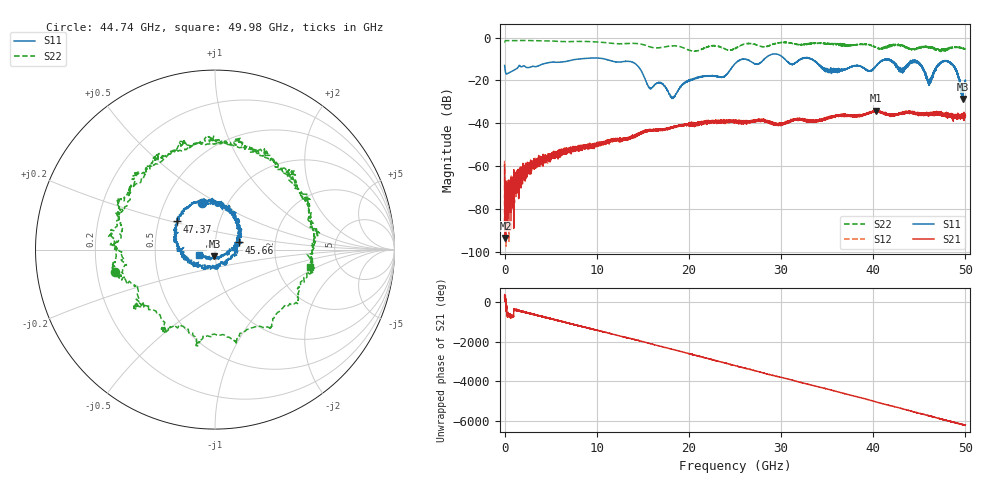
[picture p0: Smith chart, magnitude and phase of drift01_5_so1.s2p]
!Created with skrf (http://scikit-rf.org).
# Hz S RI R 50.0
!freq ReS11 ImS11 ReS21 ImS21 ReS12 ImS12 ReS22 ImS22
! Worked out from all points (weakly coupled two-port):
!   10001 points, 300 kHz to 50 GHz, reference 50 ohm
!   highest |S21| = -34.11 dB at 40.27 GHz (marker M1); lowest = -93.5 dB at 85.3 MHz (marker M2)
!   lowest |S11| = -28.6 dB at 49.72 GHz (marker M3), VSWR 1.08, Z = 49.6 - j3.67 ohm
!   |S11| at or under -10 dB: 10.84 GHz to 25.98 GHz (15.14 GHz wide, 82.3 % of centre); 33.25 GHz to 41.39 GHz (8.144 GHz wide, 21.8 % of centre); 41.41 GHz to end of sweep (the widest 3 of 8)
!   |S22| runs from -6.7 to -1.4 dB; largest |S21 - S12| = 0.004
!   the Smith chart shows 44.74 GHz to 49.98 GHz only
!   S11 on the Smith chart (normalised r, x): 44.74 GHz: 0.76, +0.42; 45.66 GHz: 1.30, +0.11; 47.37 GHz: 0.62, +0.21; 49.98 GHz: 0.83, -0.05
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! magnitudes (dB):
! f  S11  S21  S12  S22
! 300 kHz  -13.0  -59.6  -57.5  -2.1
! 85.3 MHz  -15.9  -93.5  -81.2  -1.5
! 270.3 MHz  -16.9  -71.4  -75.0  -1.4
! 3.105 GHz  -13.4  -58.8  -58.9  -1.4
! 8.335 GHz  -9.9  -51.1  -51.3  -1.8
! 13.77 GHz  -11.3  -46.1  -47.2  -2.7
! 15.72 GHz  -23.5  -43.3  -43.0  -4.3
! 16.67 GHz  -21.0  -42.9  -43.2  -4.8
! 18.26 GHz  -27.9  -42.0  -42.1  -3.9
! 25 GHz  -12.2  -38.9  -39.1  -5.1
! 33.34 GHz  -10.2  -38.9  -38.7  -2.7
! 40.27 GHz  -13.3  -34.1  -34.4  -4.6
! 41.67 GHz  -10.4  -35.7  -36.1  -4.2
! 43.07 GHz  -15.1  -35.7  -35.6  -3.5
! 44.74 GHz  -11.4  -35.5  -35.5  -4.9
! 45.66 GHz  -17.3  -35.9  -35.9  -4.5
! 46.14 GHz  -21.1  -36.4  -35.8  -4.5
! 47.37 GHz  -11.6  -35.8  -35.3  -6.0
! 48.69 GHz  -13.1  -39.0  -36.8  -4.6
! 49.72 GHz  -28.6  -36.4  -36.4  -5.1
! 49.98 GHz  -20.3  -36.6  -36.5  -5.4
! 50 GHz  -20.8  -36.5  -36.4  -5.4
